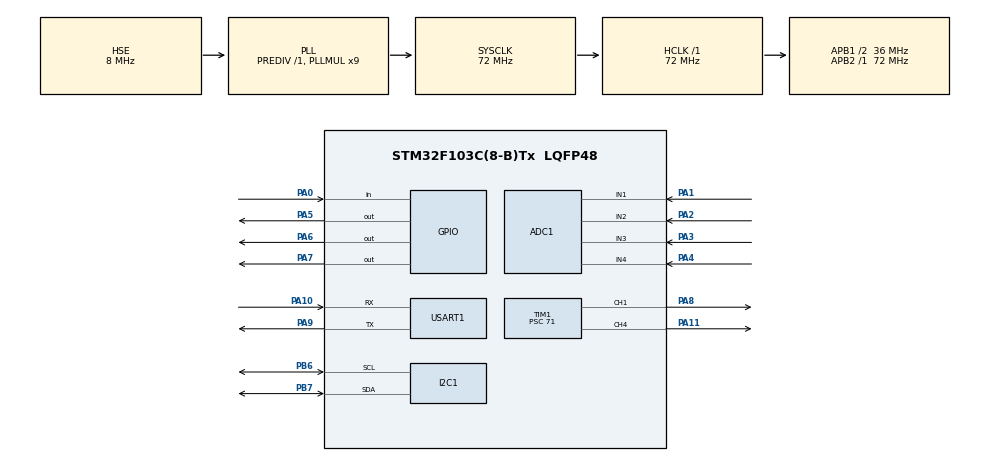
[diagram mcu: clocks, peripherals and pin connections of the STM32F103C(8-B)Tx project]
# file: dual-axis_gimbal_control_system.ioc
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ADC1.Channel-4\#ChannelRegularConversion=ADC_CHANNEL_1
ADC1.Channel-5\#ChannelRegularConversion=ADC_CHANNEL_2
ADC1.Channel-6\#ChannelRegularConversion=ADC_CHANNEL_3
ADC1.Channel-7\#ChannelRegularConversion=ADC_CHANNEL_4
ADC1.ContinuousConvMode=ENABLE
ADC1.NbrOfConversion=4
ADC1.NbrOfConversionFlag=1
ADC1.Rank-4\#ChannelRegularConversion=1
ADC1.Rank-5\#ChannelRegularConversion=2
ADC1.Rank-6\#ChannelRegularConversion=3
ADC1.Rank-7\#ChannelRegularConversion=4
ADC1.SamplingTime-4\#ChannelRegularConversion=ADC_SAMPLETIME_55CYCLES_5
ADC1.SamplingTime-5\#ChannelRegularConversion=ADC_SAMPLETIME_55CYCLES_5
ADC1.SamplingTime-6\#ChannelRegularConversion=ADC_SAMPLETIME_55CYCLES_5
ADC1.SamplingTime-7\#ChannelRegularConversion=ADC_SAMPLETIME_55CYCLES_5
ADC1.master=1
Dma.ADC1.0.Direction=DMA_PERIPH_TO_MEMORY
Dma.ADC1.0.Instance=DMA1_Channel1
Dma.ADC1.0.MemDataAlignment=DMA_MDATAALIGN_HALFWORD
Dma.ADC1.0.MemInc=DMA_MINC_ENABLE
Dma.ADC1.0.Mode=DMA_CIRCULAR
Dma.ADC1.0.PeriphDataAlignment=DMA_PDATAALIGN_HALFWORD
Dma.ADC1.0.PeriphInc=DMA_PINC_DISABLE
Dma.ADC1.0.Priority=DMA_PRIORITY_MEDIUM
Dma.Request0=ADC1
I2C1.I2C_Mode=I2C_Fast
Mcu.Family=STM32F1
Mcu.Name=STM32F103C(8-B)Tx
Mcu.Package=LQFP48
NVIC.DMA1_Channel1_IRQn=true\:0\:0\:false\:false\:true\:false\:true\:true
NVIC.PriorityGroup=NVIC_PRIORITYGROUP_4
NVIC.USART1_IRQn=true\:0\:0\:false\:false\:true\:true\:true\:true
PA0-WKUP.GPIO_PuPd=GPIO_PULLUP
PA0-WKUP.Signal=GPIO_Input
PA1.Signal=ADCx_IN1
PA10.Mode=Asynchronous
PA10.Signal=USART1_RX
PA11.Signal=S_TIM1_CH4
PA13.Mode=Serial_Wire
PA13.Signal=SYS_JTMS-SWDIO
PA14.Mode=Serial_Wire
PA14.Signal=SYS_JTCK-SWCLK
PA2.Signal=ADCx_IN2
PA3.Signal=ADCx_IN3
PA4.Signal=ADCx_IN4
PA5.PinState=GPIO_PIN_SET
PA5.Signal=GPIO_Output
PA6.PinState=GPIO_PIN_SET
PA6.Signal=GPIO_Output
PA7.PinState=GPIO_PIN_SET
PA7.Signal=GPIO_Output
PA8.Signal=S_TIM1_CH1
PA9.Mode=Asynchronous
PA9.Signal=USART1_TX
PB6.Mode=I2C
PB6.Signal=I2C1_SCL
PB7.Mode=I2C
PB7.Signal=I2C1_SDA
PD0-OSC_IN.Mode=HSE-External-Oscillator
PD0-OSC_IN.Signal=RCC_OSC_IN
PD1-OSC_OUT.Mode=HSE-External-Oscillator
PD1-OSC_OUT.Signal=RCC_OSC_OUT
ProjectManager.HeapSize=0x200
ProjectManager.StackSize=0x400
ProjectManager.TargetToolchain=STM32CubeIDE
RCC.ADCPresc=RCC_ADCPCLK2_DIV6
RCC.AHBFreq_Value=72000000
RCC.APB1CLKDivider=RCC_HCLK_DIV2
RCC.APB1Freq_Value=36000000
RCC.APB1TimFreq_Value=72000000
RCC.APB2Freq_Value=72000000
RCC.APB2TimFreq_Value=72000000
RCC.HCLKFreq_Value=72000000
RCC.PLLMUL=RCC_PLL_MUL9
RCC.PLLSourceVirtual=RCC_PLLSOURCE_HSE
RCC.SYSCLKFreq_VALUE=72000000
RCC.SYSCLKSource=RCC_SYSCLKSOURCE_PLLCLK
RCC.USBFreq_Value=72000000
SH.ADCx_IN1.0=ADC1_IN1,IN1
SH.ADCx_IN2.0=ADC1_IN2,IN2
SH.ADCx_IN3.0=ADC1_IN3,IN3
SH.ADCx_IN4.0=ADC1_IN4,IN4
SH.S_TIM1_CH1.0=TIM1_CH1,PWM Generation1 CH1
SH.S_TIM1_CH4.0=TIM1_CH4,PWM Generation4 CH4
TIM1.AutoReloadPreload=TIM_AUTORELOAD_PRELOAD_ENABLE
TIM1.Channel-PWM\ Generation1\ CH1=TIM_CHANNEL_1
TIM1.Channel-PWM\ Generation4\ CH4=TIM_CHANNEL_4
TIM1.Period=19999
TIM1.Prescaler=71
TIM1.Pulse-PWM\ Generation1\ CH1=1500
TIM1.Pulse-PWM\ Generation4\ CH4=1500
USART1.VirtualMode=VM_ASYNC
VP_TIM1_VS_ClockSourceINT.Mode=Internal
board=custom

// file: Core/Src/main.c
/* USER CODE BEGIN Header */
/**
  ******************************************************************************
  * @file           : main.c
  * @brief          : Main program body
  ******************************************************************************
  * @attention
  *
  * Copyright (c) 2026 STMicroelectronics.
  * All rights reserved.
  *
  * This software is licensed under terms that can be found in the LICENSE file
  * in the root directory of this software component.
  * If no LICENSE file comes with this software, it is provided AS-IS.
  *
  ******************************************************************************
  */
/* USER CODE END Header */
#include "main.h"

/* USER CODE BEGIN Includes */
/* 任务一加入 */
#include "bsp_gpio.h"
#include "key.h"
#include "led.h"
#include "app_mode.h"
#include "app_task.h"
/* 任务二加入 */
#include "bsp_uart.h"
#include "protocol.h"
#include "oled_ui.h"
/* 任务三加入 */
#include "bsp_pwm.h"
#include "gimbal.h"
/* 任务四加入 */
#include "attitude.h"
/* 任务五加入 */
#include "bsp_adc.h"
#include "track.h"

/* USER CODE END Includes */

ADC_HandleTypeDef hadc1;
DMA_HandleTypeDef hdma_adc1;

I2C_HandleTypeDef hi2c1;

TIM_HandleTypeDef htim1;

UART_HandleTypeDef huart1;

void SystemClock_Config(void);
static void MX_GPIO_Init(void);
static void MX_DMA_Init(void);
static void MX_I2C1_Init(void);
static void MX_USART1_UART_Init(void);
static void MX_TIM1_Init(void);
static void MX_ADC1_Init(void);

int main(void)
{

  /* MCU Configuration--------------------------------------------------------*/

  /* Reset of all peripherals, Initializes the Flash interface and the Systick. */
  HAL_Init();

  /* Configure the system clock */
  SystemClock_Config();

  /* Initialize all configured peripherals */
  MX_GPIO_Init();
  MX_DMA_Init();
  MX_I2C1_Init();
  MX_USART1_UART_Init();
  MX_TIM1_Init();
  MX_ADC1_Init();
  /* USER CODE BEGIN 2 */

  /* 上电稳定等待3v3建立,防止冷上电时MPU未及时初始化而置错误标识 */
  HAL_Delay(300);

  /* 板级外设初始化 */
  bsp_gpio_init();
  bsp_uart_init();
  /* 逻辑模块初始化 */
  logic_key_init();
  logic_led_init();
  app_mode_init();
  app_task_init();
  logic_protocol_init();
  bsp_pwm_init();

  if (bsp_adc_init() != 0)
  {
	  logic_led_set_error(LED_ERR_ADC);
  }
  else
  {
	  logic_led_clear_error(LED_ERR_ADC);
  }
  logic_gimbal_init();
  logic_attitude_init();
  logic_track_init();
  /* 上电自检:200ms x 3 轮 */
  logic_led_powerOn_selfTest();
  /* -------- OLED 初始化,失败则设置 error_flag -------- */
  logic_oled_ui_init();
  /* 明确进入模式一 */
  app_mode_set(MODE_CMD);

  /* USER CODE END 2 */

  /* Infinite loop */
  /* USER CODE BEGIN WHILE */
  while (1)
  {
	  app_task_run();
    /* USER CODE END WHILE */

  }
}

void SystemClock_Config(void)
{
  RCC_OscInitTypeDef RCC_OscInitStruct = {0};
  RCC_ClkInitTypeDef RCC_ClkInitStruct = {0};
  RCC_PeriphCLKInitTypeDef PeriphClkInit = {0};

  /** Initializes the RCC Oscillators according to the specified parameters
  * in the RCC_OscInitTypeDef structure.
  */
  RCC_OscInitStruct.OscillatorType = RCC_OSCILLATORTYPE_HSE;
  RCC_OscInitStruct.HSEState = RCC_HSE_ON;
  RCC_OscInitStruct.HSEPredivValue = RCC_HSE_PREDIV_DIV1;
  RCC_OscInitStruct.HSIState = RCC_HSI_ON;
  RCC_OscInitStruct.PLL.PLLState = RCC_PLL_ON;
  RCC_OscInitStruct.PLL.PLLSource = RCC_PLLSOURCE_HSE;
  RCC_OscInitStruct.PLL.PLLMUL = RCC_PLL_MUL9;
  if (HAL_RCC_OscConfig(&RCC_OscInitStruct) != HAL_OK)
  {
    Error_Handler();
  }

  /** Initializes the CPU, AHB and APB buses clocks
  */
  RCC_ClkInitStruct.ClockType = RCC_CLOCKTYPE_HCLK|RCC_CLOCKTYPE_SYSCLK
                              |RCC_CLOCKTYPE_PCLK1|RCC_CLOCKTYPE_PCLK2;
  RCC_ClkInitStruct.SYSCLKSource = RCC_SYSCLKSOURCE_PLLCLK;
  RCC_ClkInitStruct.AHBCLKDivider = RCC_SYSCLK_DIV1;
  RCC_ClkInitStruct.APB1CLKDivider = RCC_HCLK_DIV2;
  RCC_ClkInitStruct.APB2CLKDivider = RCC_HCLK_DIV1;

  if (HAL_RCC_ClockConfig(&RCC_ClkInitStruct, FLASH_LATENCY_2) != HAL_OK)
  {
    Error_Handler();
  }
  PeriphClkInit.PeriphClockSelection = RCC_PERIPHCLK_ADC;
  PeriphClkInit.AdcClockSelection = RCC_ADCPCLK2_DIV6;
  if (HAL_RCCEx_PeriphCLKConfig(&PeriphClkInit) != HAL_OK)
  {
    Error_Handler();
  }
}

static void MX_ADC1_Init(void)
{

  ADC_ChannelConfTypeDef sConfig = {0};

  /** Common config
  */
  hadc1.Instance = ADC1;
  hadc1.Init.ScanConvMode = ADC_SCAN_ENABLE;
  hadc1.Init.ContinuousConvMode = ENABLE;
  hadc1.Init.DiscontinuousConvMode = DISABLE;
  hadc1.Init.ExternalTrigConv = ADC_SOFTWARE_START;
  hadc1.Init.DataAlign = ADC_DATAALIGN_RIGHT;
  hadc1.Init.NbrOfConversion = 4;
  if (HAL_ADC_Init(&hadc1) != HAL_OK)
  {
    Error_Handler();
  }

  /** Configure Regular Channel
  */
  sConfig.Channel = ADC_CHANNEL_1;
  sConfig.Rank = ADC_REGULAR_RANK_1;
  sConfig.SamplingTime = ADC_SAMPLETIME_55CYCLES_5;
  if (HAL_ADC_ConfigChannel(&hadc1, &sConfig) != HAL_OK)
  {
    Error_Handler();
  }

  /** Configure Regular Channel
  */
  sConfig.Channel = ADC_CHANNEL_2;
  sConfig.Rank = ADC_REGULAR_RANK_2;
  if (HAL_ADC_ConfigChannel(&hadc1, &sConfig) != HAL_OK)
  {
    Error_Handler();
  }

  /** Configure Regular Channel
  */
  sConfig.Channel = ADC_CHANNEL_3;
  sConfig.Rank = ADC_REGULAR_RANK_3;
  if (HAL_ADC_ConfigChannel(&hadc1, &sConfig) != HAL_OK)
  {
    Error_Handler();
  }

  /** Configure Regular Channel
  */
  sConfig.Channel = ADC_CHANNEL_4;
  sConfig.Rank = ADC_REGULAR_RANK_4;
  if (HAL_ADC_ConfigChannel(&hadc1, &sConfig) != HAL_OK)
  {
    Error_Handler();
  }

}

static void MX_I2C1_Init(void)
{

  hi2c1.Instance = I2C1;
  hi2c1.Init.ClockSpeed = 400000;
  hi2c1.Init.DutyCycle = I2C_DUTYCYCLE_2;
  hi2c1.Init.OwnAddress1 = 0;
  hi2c1.Init.AddressingMode = I2C_ADDRESSINGMODE_7BIT;
  hi2c1.Init.DualAddressMode = I2C_DUALADDRESS_DISABLE;
  hi2c1.Init.OwnAddress2 = 0;
  hi2c1.Init.GeneralCallMode = I2C_GENERALCALL_DISABLE;
  hi2c1.Init.NoStretchMode = I2C_NOSTRETCH_DISABLE;
  if (HAL_I2C_Init(&hi2c1) != HAL_OK)
  {
    Error_Handler();
  }

}

static void MX_TIM1_Init(void)
{

  TIM_ClockConfigTypeDef sClockSourceConfig = {0};
  TIM_MasterConfigTypeDef sMasterConfig = {0};
  TIM_OC_InitTypeDef sConfigOC = {0};
  TIM_BreakDeadTimeConfigTypeDef sBreakDeadTimeConfig = {0};

  htim1.Instance = TIM1;
  htim1.Init.Prescaler = 71;
  htim1.Init.CounterMode = TIM_COUNTERMODE_UP;
  htim1.Init.Period = 19999;
  htim1.Init.ClockDivision = TIM_CLOCKDIVISION_DIV1;
  htim1.Init.RepetitionCounter = 0;
  htim1.Init.AutoReloadPreload = TIM_AUTORELOAD_PRELOAD_ENABLE;
  if (HAL_TIM_Base_Init(&htim1) != HAL_OK)
  {
    Error_Handler();
  }
  sClockSourceConfig.ClockSource = TIM_CLOCKSOURCE_INTERNAL;
  if (HAL_TIM_ConfigClockSource(&htim1, &sClockSourceConfig) != HAL_OK)
  {
    Error_Handler();
  }
  if (HAL_TIM_PWM_Init(&htim1) != HAL_OK)
  {
    Error_Handler();
  }
  sMasterConfig.MasterOutputTrigger = TIM_TRGO_RESET;
  sMasterConfig.MasterSlaveMode = TIM_MASTERSLAVEMODE_DISABLE;
  if (HAL_TIMEx_MasterConfigSynchronization(&htim1, &sMasterConfig) != HAL_OK)
  {
    Error_Handler();
  }
  sConfigOC.OCMode = TIM_OCMODE_PWM1;
  sConfigOC.Pulse = 1500;
  sConfigOC.OCPolarity = TIM_OCPOLARITY_HIGH;
  sConfigOC.OCNPolarity = TIM_OCNPOLARITY_HIGH;
  sConfigOC.OCFastMode = TIM_OCFAST_DISABLE;
  sConfigOC.OCIdleState = TIM_OCIDLESTATE_RESET;
  sConfigOC.OCNIdleState = TIM_OCNIDLESTATE_RESET;
  if (HAL_TIM_PWM_ConfigChannel(&htim1, &sConfigOC, TIM_CHANNEL_1) != HAL_OK)
  {
    Error_Handler();
  }
  if (HAL_TIM_PWM_ConfigChannel(&htim1, &sConfigOC, TIM_CHANNEL_4) != HAL_OK)
  {
    Error_Handler();
  }
  sBreakDeadTimeConfig.OffStateRunMode = TIM_OSSR_DISABLE;
  sBreakDeadTimeConfig.OffStateIDLEMode = TIM_OSSI_DISABLE;
  sBreakDeadTimeConfig.LockLevel = TIM_LOCKLEVEL_OFF;
  sBreakDeadTimeConfig.DeadTime = 0;
  sBreakDeadTimeConfig.BreakState = TIM_BREAK_DISABLE;
  sBreakDeadTimeConfig.BreakPolarity = TIM_BREAKPOLARITY_HIGH;
  sBreakDeadTimeConfig.AutomaticOutput = TIM_AUTOMATICOUTPUT_DISABLE;
  if (HAL_TIMEx_ConfigBreakDeadTime(&htim1, &sBreakDeadTimeConfig) != HAL_OK)
  {
    Error_Handler();
  }
  HAL_TIM_MspPostInit(&htim1);

}

static void MX_USART1_UART_Init(void)
{

  huart1.Instance = USART1;
  huart1.Init.BaudRate = 115200;
  huart1.Init.WordLength = UART_WORDLENGTH_8B;
  huart1.Init.StopBits = UART_STOPBITS_1;
  huart1.Init.Parity = UART_PARITY_NONE;
  huart1.Init.Mode = UART_MODE_TX_RX;
  huart1.Init.HwFlowCtl = UART_HWCONTROL_NONE;
  huart1.Init.OverSampling = UART_OVERSAMPLING_16;
  if (HAL_UART_Init(&huart1) != HAL_OK)
  {
    Error_Handler();
  }

}

static void MX_DMA_Init(void)
{

  /* DMA controller clock enable */
  __HAL_RCC_DMA1_CLK_ENABLE();

  /* DMA interrupt init */
  /* DMA1_Channel1_IRQn interrupt configuration */
  HAL_NVIC_SetPriority(DMA1_Channel1_IRQn, 0, 0);
  HAL_NVIC_EnableIRQ(DMA1_Channel1_IRQn);

}

static void MX_GPIO_Init(void)
{
  GPIO_InitTypeDef GPIO_InitStruct = {0};

  /* GPIO Ports Clock Enable */
  __HAL_RCC_GPIOD_CLK_ENABLE();
  __HAL_RCC_GPIOA_CLK_ENABLE();
  __HAL_RCC_GPIOB_CLK_ENABLE();

  /*Configure GPIO pin Output Level */
  HAL_GPIO_WritePin(GPIOA, GPIO_PIN_5|GPIO_PIN_6|GPIO_PIN_7, GPIO_PIN_SET);

  /*Configure GPIO pin : PA0 */
  GPIO_InitStruct.Pin = GPIO_PIN_0;
  GPIO_InitStruct.Mode = GPIO_MODE_INPUT;
  GPIO_InitStruct.Pull = GPIO_PULLUP;
  HAL_GPIO_Init(GPIOA, &GPIO_InitStruct);

  /*Configure GPIO pins : PA5 PA6 PA7 */
  GPIO_InitStruct.Pin = GPIO_PIN_5|GPIO_PIN_6|GPIO_PIN_7;
  GPIO_InitStruct.Mode = GPIO_MODE_OUTPUT_PP;
  GPIO_InitStruct.Pull = GPIO_NOPULL;
  GPIO_InitStruct.Speed = GPIO_SPEED_FREQ_LOW;
  HAL_GPIO_Init(GPIOA, &GPIO_InitStruct);

}

void Error_Handler(void)
{
  __disable_irq();
  while (1)
  {
  }
}
